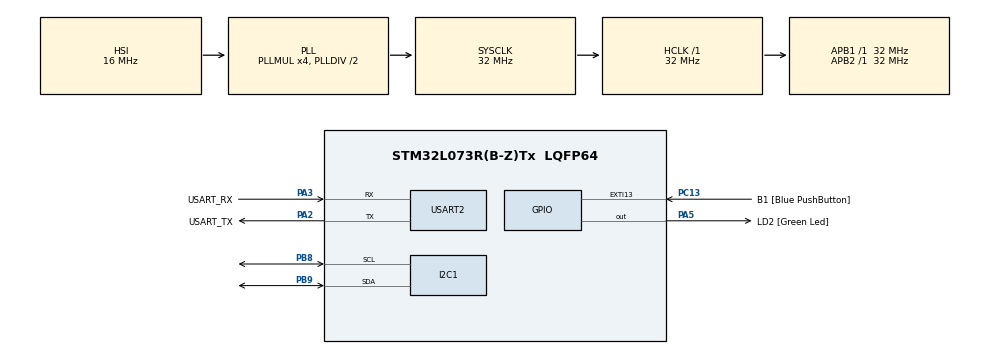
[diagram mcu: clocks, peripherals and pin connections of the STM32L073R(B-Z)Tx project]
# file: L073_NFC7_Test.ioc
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I2C1.Timing=0x00503D58
Mcu.Family=STM32L0
Mcu.Name=STM32L073R(B-Z)Tx
Mcu.Package=LQFP64
NVIC.USART2_IRQn=true\:0\:0\:false\:false\:true\:true\:true\:true
PA13.GPIO_Label=TMS
PA13.Mode=Serial_Wire
PA13.Signal=SYS_SWDIO
PA14.GPIO_Label=TCK
PA14.Mode=Serial_Wire
PA14.Signal=SYS_SWCLK
PA2.GPIO_Label=USART_TX
PA2.Mode=Asynchronous
PA2.Signal=USART2_TX
PA3.GPIO_Label=USART_RX
PA3.Mode=Asynchronous
PA3.Signal=USART2_RX
PA5.GPIO_Label=LD2 [Green Led]
PA5.Signal=GPIO_Output
PB8.Mode=I2C
PB8.Signal=I2C1_SCL
PB9.Mode=I2C
PB9.Signal=I2C1_SDA
PC13.GPIO_Label=B1 [Blue PushButton]
PC13.GPIO_ModeDefaultEXTI=GPIO_MODE_IT_FALLING
PC13.Signal=GPXTI13
PC14-OSC32_IN.Mode=LSE-External-Oscillator
PC14-OSC32_IN.Signal=RCC_OSC32_IN
PC15-OSC32_OUT.Mode=LSE-External-Oscillator
PC15-OSC32_OUT.Signal=RCC_OSC32_OUT
ProjectManager.HeapSize=0x200
ProjectManager.StackSize=0x400
ProjectManager.TargetToolchain=STM32CubeIDE
RCC.AHBFreq_Value=32000000
RCC.APB1Freq_Value=32000000
RCC.APB1TimFreq_Value=32000000
RCC.APB2Freq_Value=32000000
RCC.APB2TimFreq_Value=32000000
RCC.HCLKFreq_Value=32000000
RCC.HSE_VALUE=8000000
RCC.HSI16_VALUE=16000000
RCC.HSI48_VALUE=48000000
RCC.HSI_VALUE=16000000
RCC.I2c1ClockSelection=RCC_I2C1CLKSOURCE_HSI
RCC.MSI_VALUE=2097000
RCC.PLLMUL=RCC_PLLMUL_4
RCC.SYSCLKFreq_VALUE=32000000
RCC.SYSCLKSource=RCC_SYSCLKSOURCE_PLLCLK
RCC.VCOOutputFreq_Value=64000000
USART2.VirtualMode-Asynchronous=VM_ASYNC
board=NUCLEO-L073RZ

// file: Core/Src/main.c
/* USER CODE BEGIN Header */
/**
  ******************************************************************************
  * @file           : main.c
  * @brief          : Main program body
  ******************************************************************************
  * @attention
  *
  * Copyright (c) 2025 STMicroelectronics.
  * All rights reserved.
  *
  * This software is licensed under terms that can be found in the LICENSE file
  * in the root directory of this software component.
  * If no LICENSE file comes with this software, it is provided AS-IS.
  *
  ******************************************************************************
  */
/* USER CODE END Header */
#include "main.h"

I2C_HandleTypeDef hi2c1;

UART_HandleTypeDef huart2;

/* USER CODE BEGIN PV */
uint8_t rxData;
uint8_t Debug_RX[1000];
uint16_t Debug_RX_Index = 0;
uint8_t Debug_RX_Flag = 0;
uint8_t debug_echo = 1;
int _write(int fd, char *str, int len)
{
	HAL_UART_Transmit(&huart2, (uint8_t *)str, len, 0xFFFF);
	return len;
}

void HAL_UART_RxCpltCallback(UART_HandleTypeDef *huart) {

    /*
        This will be called once data is received successfully,
        via interrupts.
    */

     /*
       loop back received data
     */
	if(huart == &huart2)
	{
		 HAL_UART_Receive_IT(&huart2, &rxData, 1);
		 if(debug_echo)
				 HAL_UART_Transmit(&huart2, &rxData, 1, 1000);

		 Debug_RX[Debug_RX_Index++] = rxData;
		 if(rxData=='\r')
		 {
			 Debug_RX_Flag = 1;
		 }
	}
}
/* USER CODE END PV */

void SystemClock_Config(void);
static void MX_GPIO_Init(void);
static void MX_USART2_UART_Init(void);
static void MX_I2C1_Init(void);

int main(void)
{

  /* USER CODE BEGIN 1 */
	uint8_t NFC_data[100] = {0x28, 0x01, 0x02, 0x03};
	uint16_t NFC_addr = 0x50;
  /* USER CODE END 1 */

  /* MCU Configuration--------------------------------------------------------*/

  /* Reset of all peripherals, Initializes the Flash interface and the Systick. */
  HAL_Init();

  /* Configure the system clock */
  SystemClock_Config();

  /* Initialize all configured peripherals */
  MX_GPIO_Init();
  MX_USART2_UART_Init();
  MX_I2C1_Init();
  /* USER CODE BEGIN 2 */
  HAL_UART_Receive_IT(&huart2, &rxData, 1);
  memset(Debug_RX, 0, sizeof(Debug_RX));
  printf("==== NFC TEST ====\r\n");
  /* USER CODE END 2 */

  /* Infinite loop */
  /* USER CODE BEGIN WHILE */
  while (1)
  {
	  if(Debug_RX_Flag == 1)
	  {
		  printf("\nRECV[%d] : %s\r\n", Debug_RX_Index, Debug_RX);
		  memset(Debug_RX, 0, sizeof(Debug_RX));
		  Debug_RX_Flag = 0;
		  Debug_RX_Index = 0;

		  if(HAL_OK != HAL_I2C_Master_Receive(&hi2c1, NFC_addr, NFC_data, 4, 200) ) {
		  		return HAL_ERROR;
		  }
		  if(HAL_OK != HAL_I2C_Master_Transmit(&hi2c1, NFC_addr | 0x01, NFC_data, 4, 200) ) {
		  		return  HAL_ERROR;
		  }
	  }
    /* USER CODE END WHILE */

  }
}

void SystemClock_Config(void)
{
  RCC_OscInitTypeDef RCC_OscInitStruct = {0};
  RCC_ClkInitTypeDef RCC_ClkInitStruct = {0};
  RCC_PeriphCLKInitTypeDef PeriphClkInit = {0};

  /** Configure the main internal regulator output voltage
  */
  __HAL_PWR_VOLTAGESCALING_CONFIG(PWR_REGULATOR_VOLTAGE_SCALE1);

  /** Initializes the RCC Oscillators according to the specified parameters
  * in the RCC_OscInitTypeDef structure.
  */
  RCC_OscInitStruct.OscillatorType = RCC_OSCILLATORTYPE_HSI;
  RCC_OscInitStruct.HSIState = RCC_HSI_ON;
  RCC_OscInitStruct.HSICalibrationValue = RCC_HSICALIBRATION_DEFAULT;
  RCC_OscInitStruct.PLL.PLLState = RCC_PLL_ON;
  RCC_OscInitStruct.PLL.PLLSource = RCC_PLLSOURCE_HSI;
  RCC_OscInitStruct.PLL.PLLMUL = RCC_PLLMUL_4;
  RCC_OscInitStruct.PLL.PLLDIV = RCC_PLLDIV_2;
  if (HAL_RCC_OscConfig(&RCC_OscInitStruct) != HAL_OK)
  {
    Error_Handler();
  }

  /** Initializes the CPU, AHB and APB buses clocks
  */
  RCC_ClkInitStruct.ClockType = RCC_CLOCKTYPE_HCLK|RCC_CLOCKTYPE_SYSCLK
                              |RCC_CLOCKTYPE_PCLK1|RCC_CLOCKTYPE_PCLK2;
  RCC_ClkInitStruct.SYSCLKSource = RCC_SYSCLKSOURCE_PLLCLK;
  RCC_ClkInitStruct.AHBCLKDivider = RCC_SYSCLK_DIV1;
  RCC_ClkInitStruct.APB1CLKDivider = RCC_HCLK_DIV1;
  RCC_ClkInitStruct.APB2CLKDivider = RCC_HCLK_DIV1;

  if (HAL_RCC_ClockConfig(&RCC_ClkInitStruct, FLASH_LATENCY_1) != HAL_OK)
  {
    Error_Handler();
  }
  PeriphClkInit.PeriphClockSelection = RCC_PERIPHCLK_USART2|RCC_PERIPHCLK_I2C1;
  PeriphClkInit.Usart2ClockSelection = RCC_USART2CLKSOURCE_PCLK1;
  PeriphClkInit.I2c1ClockSelection = RCC_I2C1CLKSOURCE_HSI;
  if (HAL_RCCEx_PeriphCLKConfig(&PeriphClkInit) != HAL_OK)
  {
    Error_Handler();
  }
}

static void MX_I2C1_Init(void)
{

  hi2c1.Instance = I2C1;
  hi2c1.Init.Timing = 0x00503D58;
  hi2c1.Init.OwnAddress1 = 0;
  hi2c1.Init.AddressingMode = I2C_ADDRESSINGMODE_7BIT;
  hi2c1.Init.DualAddressMode = I2C_DUALADDRESS_DISABLE;
  hi2c1.Init.OwnAddress2 = 0;
  hi2c1.Init.OwnAddress2Masks = I2C_OA2_NOMASK;
  hi2c1.Init.GeneralCallMode = I2C_GENERALCALL_DISABLE;
  hi2c1.Init.NoStretchMode = I2C_NOSTRETCH_DISABLE;
  if (HAL_I2C_Init(&hi2c1) != HAL_OK)
  {
    Error_Handler();
  }

  /** Configure Analogue filter
  */
  if (HAL_I2CEx_ConfigAnalogFilter(&hi2c1, I2C_ANALOGFILTER_ENABLE) != HAL_OK)
  {
    Error_Handler();
  }

  /** Configure Digital filter
  */
  if (HAL_I2CEx_ConfigDigitalFilter(&hi2c1, 0) != HAL_OK)
  {
    Error_Handler();
  }

}

static void MX_USART2_UART_Init(void)
{

  huart2.Instance = USART2;
  huart2.Init.BaudRate = 115200;
  huart2.Init.WordLength = UART_WORDLENGTH_8B;
  huart2.Init.StopBits = UART_STOPBITS_1;
  huart2.Init.Parity = UART_PARITY_NONE;
  huart2.Init.Mode = UART_MODE_TX_RX;
  huart2.Init.HwFlowCtl = UART_HWCONTROL_NONE;
  huart2.Init.OverSampling = UART_OVERSAMPLING_16;
  huart2.Init.OneBitSampling = UART_ONE_BIT_SAMPLE_DISABLE;
  huart2.AdvancedInit.AdvFeatureInit = UART_ADVFEATURE_NO_INIT;
  if (HAL_UART_Init(&huart2) != HAL_OK)
  {
    Error_Handler();
  }

}

static void MX_GPIO_Init(void)
{
  GPIO_InitTypeDef GPIO_InitStruct = {0};

  /* GPIO Ports Clock Enable */
  __HAL_RCC_GPIOC_CLK_ENABLE();
  __HAL_RCC_GPIOA_CLK_ENABLE();
  __HAL_RCC_GPIOB_CLK_ENABLE();

  /*Configure GPIO pin Output Level */
  HAL_GPIO_WritePin(LD2_GPIO_Port, LD2_Pin, GPIO_PIN_RESET);

  /*Configure GPIO pin : B1_Pin */
  GPIO_InitStruct.Pin = B1_Pin;
  GPIO_InitStruct.Mode = GPIO_MODE_IT_FALLING;
  GPIO_InitStruct.Pull = GPIO_NOPULL;
  HAL_GPIO_Init(B1_GPIO_Port, &GPIO_InitStruct);

  /*Configure GPIO pin : LD2_Pin */
  GPIO_InitStruct.Pin = LD2_Pin;
  GPIO_InitStruct.Mode = GPIO_MODE_OUTPUT_PP;
  GPIO_InitStruct.Pull = GPIO_NOPULL;
  GPIO_InitStruct.Speed = GPIO_SPEED_FREQ_LOW;
  HAL_GPIO_Init(LD2_GPIO_Port, &GPIO_InitStruct);

}

void Error_Handler(void)
{
  __disable_irq();
  while (1)
  {
  }
}
